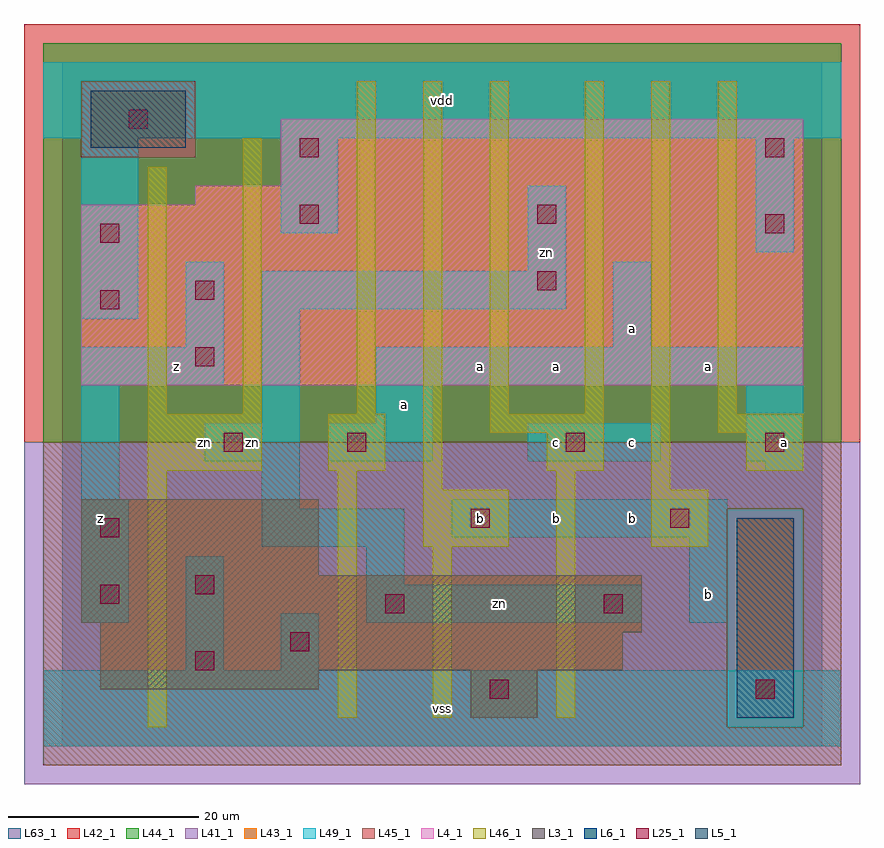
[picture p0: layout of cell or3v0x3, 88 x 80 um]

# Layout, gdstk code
import gdstk
lib = gdstk.Library(unit=1e-6, precision=1e-09)
def R(c, l, rs):  # rectangles x0, y0, x1, y1
    for r in rs: c.add(gdstk.rectangle(r[:2], r[2:], *l))
L3_1 = (3, 1)
L4_1 = (4, 1)
L5_1 = (5, 1)
L6_1 = (6, 1)
L25_1 = (25, 1)
L41_1 = (41, 1)
L42_1 = (42, 1)
L43_1 = (43, 1)
L44_1 = (44, 1)
L45_1 = (45, 1)
L46_1 = (46, 1)
L49_1 = (49, 1)
L63_1 = (63, 1)

or3v0x3 = lib.new_cell('or3v0x3')
R(or3v0x3, L3_1, [(43,3,50,8), (4,6,27,8), (4,8,59,12), (4,12,61,13), (2,13,61,18), (2,18,27,26)])
R(or3v0x3, L4_1, [(2,38,78,57), (14,57,78,59), (23,59,78,66)])
R(or3v0x3, L5_1, [(3,63,13,69)])
R(or3v0x3, L6_1, [(71,3,77,24), (71,3,77,24)])
R(or3v0x3, L25_1, [(45,5,47,7), (73,5,75,7), (14,8,16,10), (24,10,26,12), (34,14,36,16), (57,14,59,16), (4,15,6,17), (14,16,16,18), (4,22,6,24), (43,23,45,25), (64,23,66,25), (17,31,19,33), (30,31,32,33), (53,31,55,33), (74,31,76,33), (14,40,16,42), (4,46,6,48), (14,47,16,49), (50,48,52,50), (4,53,6,55), (74,54,76,56), (25,55,27,57), (50,55,52,57), (25,62,27,64), (74,62,76,64), (7,65,9,67)])
R(or3v0x3, L41_1, [(-4,-4,84,32)])
R(or3v0x3, L42_1, [(-4,32,84,76)])
R(or3v0x3, L43_1, [(43,3,50,8), (71,3,77,24), (4,6,27,8), (4,8,59,12), (4,12,61,13), (2,13,61,18), (2,18,27,26), (2,38,78,57), (14,57,78,59), (23,59,78,66), (3,63,13,69)])
R(or3v0x3, L44_1, [(70,2,78,25), (-2,32,82,62), (-2,62,2,70), (14,62,82,70), (-2,70,82,74)])
R(or3v0x3, L45_1, [(-2,-2,82,2), (-2,2,70,25), (78,2,82,25), (-2,25,82,32), (2,62,14,70)])
R(or3v0x3, L46_1, [(9,2,11,29), (29,3,31,29), (39,3,41,21), (52,3,54,29), (38,21,47,27), (62,21,68,27), (38,27,40,70), (62,27,64,70), (9,29,21,35), (28,29,34,35), (51,29,57,33), (72,29,78,33), (45,33,57,35), (69,33,78,35), (9,35,11,61), (19,35,21,64), (31,35,33,70), (45,35,47,70), (55,35,57,70), (69,35,71,70)])
R(or3v0x3, L49_1, [(-2,0,82,8), (13,8,17,20), (23,8,27,14), (2,13,7,26), (32,13,61,17), (66,13,70,22), (32,17,36,21), (21,21,36,25), (41,22,70,26), (21,25,25,30), (2,26,6,38), (74,29,78,30), (15,30,25,34), (28,30,39,34), (49,30,63,34), (72,30,78,38), (21,34,25,46), (33,34,39,38), (2,38,17,42), (33,38,78,42), (13,42,17,51), (58,42,62,51), (2,45,8,64), (21,46,53,50), (49,50,53,59), (73,52,77,64), (23,54,29,64), (-2,64,82,72)])
R(or3v0x3, L63_1, [(0,0,80,72)])
or3v0x3.add(gdstk.Label('zn', (15,32), layer=46, texttype=1))
or3v0x3.add(gdstk.Label('z', (4,24), layer=49, texttype=1))
or3v0x3.add(gdstk.Label('zn', (20,32), layer=49, texttype=1))
or3v0x3.add(gdstk.Label('z', (12,40), layer=49, texttype=1))
or3v0x3.add(gdstk.Label('vss', (40,4), layer=49, texttype=1))
or3v0x3.add(gdstk.Label('b', (44,24), layer=49, texttype=1))
or3v0x3.add(gdstk.Label('a', (44,40), layer=49, texttype=1))
or3v0x3.add(gdstk.Label('a', (36,36), layer=49, texttype=1))
or3v0x3.add(gdstk.Label('vdd', (40,68), layer=49, texttype=1))
or3v0x3.add(gdstk.Label('zn', (46,15), layer=49, texttype=1))
or3v0x3.add(gdstk.Label('b', (52,24), layer=49, texttype=1))
or3v0x3.add(gdstk.Label('b', (60,24), layer=49, texttype=1))
or3v0x3.add(gdstk.Label('c', (60,32), layer=49, texttype=1))
or3v0x3.add(gdstk.Label('c', (52,32), layer=49, texttype=1))
or3v0x3.add(gdstk.Label('a', (52,40), layer=49, texttype=1))
or3v0x3.add(gdstk.Label('a', (60,44), layer=49, texttype=1))
or3v0x3.add(gdstk.Label('zn', (51,52), layer=49, texttype=1))
or3v0x3.add(gdstk.Label('b', (68,16), layer=49, texttype=1))
or3v0x3.add(gdstk.Label('a', (76,32), layer=49, texttype=1))
or3v0x3.add(gdstk.Label('a', (68,40), layer=49, texttype=1))

lib.write_gds('or3v0x3.gds')
